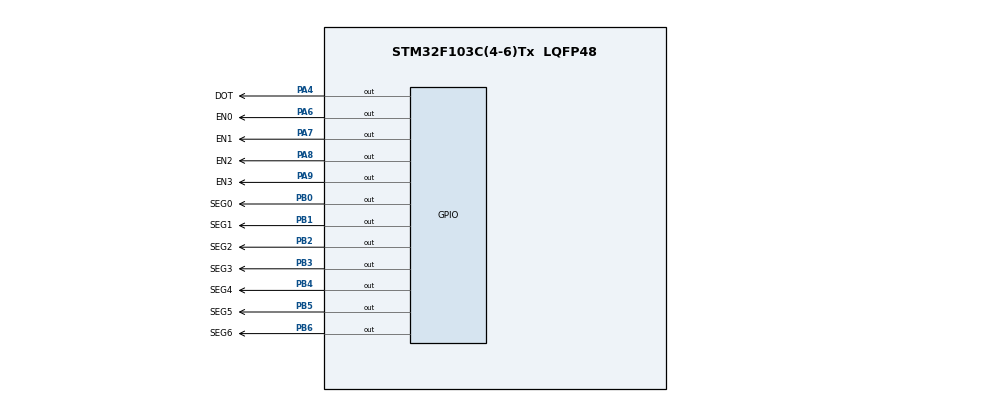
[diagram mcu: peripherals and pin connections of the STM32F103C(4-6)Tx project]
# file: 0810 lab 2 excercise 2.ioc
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Mcu.Family=STM32F1
Mcu.Name=STM32F103C(4-6)Tx
Mcu.Package=LQFP48
NVIC.PriorityGroup=NVIC_PRIORITYGROUP_4
NVIC.TIM2_IRQn=true\:0\:0\:false\:false\:true\:true\:true
PA4.GPIO_Label=DOT
PA4.Signal=GPIO_Output
PA6.GPIO_Label=EN0
PA6.Signal=GPIO_Output
PA7.GPIO_Label=EN1
PA7.Signal=GPIO_Output
PA8.GPIO_Label=EN2
PA8.Signal=GPIO_Output
PA9.GPIO_Label=EN3
PA9.Signal=GPIO_Output
PB0.GPIO_Label=SEG0
PB0.Signal=GPIO_Output
PB1.GPIO_Label=SEG1
PB1.Signal=GPIO_Output
PB2.GPIO_Label=SEG2
PB2.Signal=GPIO_Output
PB3.GPIO_Label=SEG3
PB3.Signal=GPIO_Output
PB4.GPIO_Label=SEG4
PB4.Signal=GPIO_Output
PB5.GPIO_Label=SEG5
PB5.Signal=GPIO_Output
PB6.GPIO_Label=SEG6
PB6.Signal=GPIO_Output
ProjectManager.HeapSize=0x200
ProjectManager.StackSize=0x400
ProjectManager.TargetToolchain=STM32CubeIDE
RCC.APB1Freq_Value=8000000
RCC.APB2Freq_Value=8000000
TIM2.Period=9
TIM2.Prescaler=7999
VP_SYS_VS_ND.Mode=No_Debug
VP_TIM2_VS_ClockSourceINT.Mode=Internal
board=custom

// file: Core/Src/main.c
/* USER CODE BEGIN Header */
/**
  ******************************************************************************
  * @file           : main.c
  * @brief          : Main program body
  ******************************************************************************
  * @attention
  *
  * <h2><center>&copy; Copyright (c) 2022 STMicroelectronics.
  * All rights reserved.</center></h2>
  *
  * This software component is licensed by ST under BSD 3-Clause license,
  * the "License"; You may not use this file except in compliance with the
  * License. You may obtain a copy of the License at:
  *                        opensource.org/licenses/BSD-3-Clause
  *
  ******************************************************************************
  */
/* USER CODE END Header */
#include "main.h"

/* USER CODE BEGIN Includes */
#include "led7.h"
#include "timerforled.h"
/* USER CODE END Includes */

TIM_HandleTypeDef htim2;

void SystemClock_Config(void);
static void MX_TIM2_Init(void);
static void MX_GPIO_Init(void);

int main(void)
{

  /* MCU Configuration--------------------------------------------------------*/

  /* Reset of all peripherals, Initializes the Flash interface and the Systick. */
  HAL_Init();

  /* Configure the system clock */
  SystemClock_Config();

  /* Initialize all configured peripherals */
  MX_TIM2_Init();
  MX_GPIO_Init();
  /* USER CODE BEGIN 2 */
void offAllLed()
{
	  HAL_GPIO_WritePin(EN0_GPIO_Port, EN0_Pin, 1);//EN0 Off
	  HAL_GPIO_WritePin(EN1_GPIO_Port, EN1_Pin, 1);//EN1 Off
	  HAL_GPIO_WritePin(GPIOA, GPIO_PIN_8, 1);//EN2 Off
	  HAL_GPIO_WritePin(GPIOA, GPIO_PIN_9, 1);//EN3 Off
}

  HAL_TIM_Base_Start_IT(&htim2);
  //initial state
  offAllLed();
  int32_t ledOrder=0;//led 1 or led 2,3,4?
  int32_t realFlag=0;//real flag in main
  #define NUMBER_OF_LED 4

  /* USER CODE END 2 */

  /* Infinite loop */
  /* USER CODE BEGIN WHILE */
  setTimer1(50);
  while (1)
  {
	  realFlag=getFlag();
	  while(realFlag==1)
	  {
		switch (ledOrder)
		{
		case 0:
			realFlag=0;
			setTimer1(50);
			offAllLed();
			display7SEG(1);
			HAL_GPIO_WritePin(EN0_GPIO_Port, EN0_Pin, 0);//EN0 On
			ledOrder=(ledOrder+1)%NUMBER_OF_LED;
			break;
		case 1:
			realFlag=0;
			setTimer1(50);
			offAllLed();
			display7SEG(2);
			HAL_GPIO_WritePin(EN1_GPIO_Port, EN1_Pin, 0);//EN1 On
			ledOrder=(ledOrder+1)%NUMBER_OF_LED;
			break;
		case 2:
			realFlag=0;
			setTimer1(50);
			offAllLed();
			display7SEG(3);
			HAL_GPIO_WritePin(EN2_GPIO_Port, EN2_Pin, 0);//EN2 On
			ledOrder=(ledOrder+1)%NUMBER_OF_LED;
			break;
		case 3:
			realFlag=0;
			setTimer1(50);
			offAllLed();
			display7SEG(0);
			HAL_GPIO_WritePin(EN3_GPIO_Port, EN3_Pin, 0);//EN3 On
			HAL_GPIO_TogglePin(DOT_GPIO_Port, DOT_Pin);//Blink 2 led every second
			ledOrder=(ledOrder+1)%NUMBER_OF_LED;
			break;
		default:
			break;
		}
	  }

    /* USER CODE END WHILE */

  }
}

void SystemClock_Config(void)
{
  RCC_OscInitTypeDef RCC_OscInitStruct = {0};
  RCC_ClkInitTypeDef RCC_ClkInitStruct = {0};

  /** Initializes the RCC Oscillators according to the specified parameters
  * in the RCC_OscInitTypeDef structure.
  */
  RCC_OscInitStruct.OscillatorType = RCC_OSCILLATORTYPE_HSI;
  RCC_OscInitStruct.HSIState = RCC_HSI_ON;
  RCC_OscInitStruct.HSICalibrationValue = RCC_HSICALIBRATION_DEFAULT;
  RCC_OscInitStruct.PLL.PLLState = RCC_PLL_NONE;
  if (HAL_RCC_OscConfig(&RCC_OscInitStruct) != HAL_OK)
  {
    Error_Handler();
  }
  /** Initializes the CPU, AHB and APB buses clocks
  */
  RCC_ClkInitStruct.ClockType = RCC_CLOCKTYPE_HCLK|RCC_CLOCKTYPE_SYSCLK
                              |RCC_CLOCKTYPE_PCLK1|RCC_CLOCKTYPE_PCLK2;
  RCC_ClkInitStruct.SYSCLKSource = RCC_SYSCLKSOURCE_HSI;
  RCC_ClkInitStruct.AHBCLKDivider = RCC_SYSCLK_DIV1;
  RCC_ClkInitStruct.APB1CLKDivider = RCC_HCLK_DIV1;
  RCC_ClkInitStruct.APB2CLKDivider = RCC_HCLK_DIV1;

  if (HAL_RCC_ClockConfig(&RCC_ClkInitStruct, FLASH_LATENCY_0) != HAL_OK)
  {
    Error_Handler();
  }
}

static void MX_TIM2_Init(void)
{

  TIM_ClockConfigTypeDef sClockSourceConfig = {0};
  TIM_MasterConfigTypeDef sMasterConfig = {0};

  htim2.Instance = TIM2;
  htim2.Init.Prescaler = 7999;
  htim2.Init.CounterMode = TIM_COUNTERMODE_UP;
  htim2.Init.Period = 9;
  htim2.Init.ClockDivision = TIM_CLOCKDIVISION_DIV1;
  htim2.Init.AutoReloadPreload = TIM_AUTORELOAD_PRELOAD_DISABLE;
  if (HAL_TIM_Base_Init(&htim2) != HAL_OK)
  {
    Error_Handler();
  }
  sClockSourceConfig.ClockSource = TIM_CLOCKSOURCE_INTERNAL;
  if (HAL_TIM_ConfigClockSource(&htim2, &sClockSourceConfig) != HAL_OK)
  {
    Error_Handler();
  }
  sMasterConfig.MasterOutputTrigger = TIM_TRGO_RESET;
  sMasterConfig.MasterSlaveMode = TIM_MASTERSLAVEMODE_DISABLE;
  if (HAL_TIMEx_MasterConfigSynchronization(&htim2, &sMasterConfig) != HAL_OK)
  {
    Error_Handler();
  }

}

static void MX_GPIO_Init(void)
{
  GPIO_InitTypeDef GPIO_InitStruct = {0};

  /* GPIO Ports Clock Enable */
  __HAL_RCC_GPIOA_CLK_ENABLE();
  __HAL_RCC_GPIOB_CLK_ENABLE();

  /*Configure GPIO pin Output Level */
  HAL_GPIO_WritePin(GPIOA, DOT_Pin|EN0_Pin|EN1_Pin|EN2_Pin
                          |EN3_Pin, GPIO_PIN_RESET);

  /*Configure GPIO pin Output Level */
  HAL_GPIO_WritePin(GPIOB, SEG0_Pin|SEG1_Pin|SEG2_Pin|SEG3_Pin
                          |SEG4_Pin|SEG5_Pin|SEG6_Pin, GPIO_PIN_RESET);

  /*Configure GPIO pins : DOT_Pin EN0_Pin EN1_Pin EN2_Pin
                           EN3_Pin */
  GPIO_InitStruct.Pin = DOT_Pin|EN0_Pin|EN1_Pin|EN2_Pin
                          |EN3_Pin;
  GPIO_InitStruct.Mode = GPIO_MODE_OUTPUT_PP;
  GPIO_InitStruct.Pull = GPIO_NOPULL;
  GPIO_InitStruct.Speed = GPIO_SPEED_FREQ_LOW;
  HAL_GPIO_Init(GPIOA, &GPIO_InitStruct);

  /*Configure GPIO pins : SEG0_Pin SEG1_Pin SEG2_Pin SEG3_Pin
                           SEG4_Pin SEG5_Pin SEG6_Pin */
  GPIO_InitStruct.Pin = SEG0_Pin|SEG1_Pin|SEG2_Pin|SEG3_Pin
                          |SEG4_Pin|SEG5_Pin|SEG6_Pin;
  GPIO_InitStruct.Mode = GPIO_MODE_OUTPUT_PP;
  GPIO_InitStruct.Pull = GPIO_NOPULL;
  GPIO_InitStruct.Speed = GPIO_SPEED_FREQ_LOW;
  HAL_GPIO_Init(GPIOB, &GPIO_InitStruct);

}

/* USER CODE BEGIN 4 */
//timer run
void HAL_TIM_PeriodElapsedCallback(TIM_HandleTypeDef *htim2)
{
	timerRun();
}
/* USER CODE END 4 */

void Error_Handler(void)
{
  __disable_irq();
  while (1)
  {
  }
}

/************************ (C) COPYRIGHT STMicroelectronics *****END OF FILE****/
